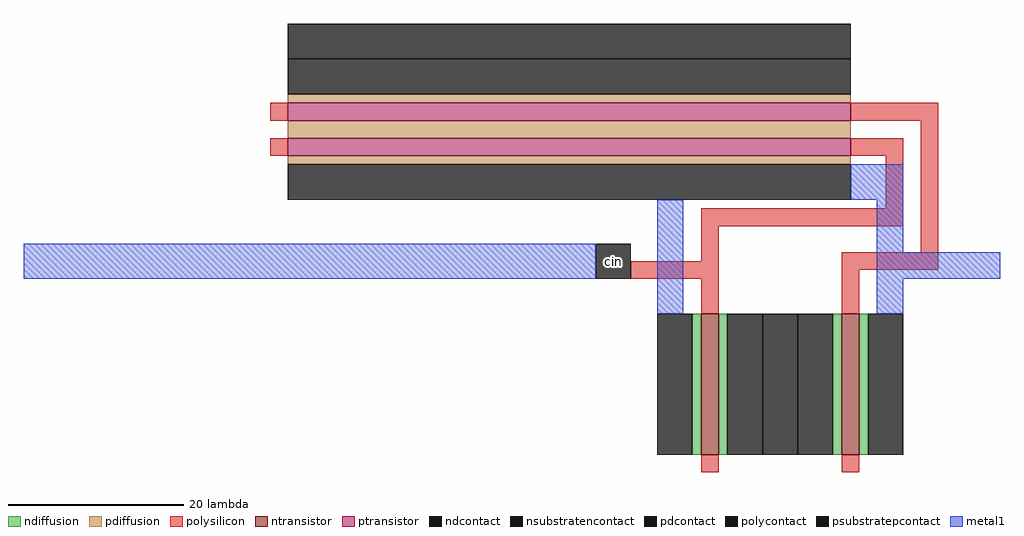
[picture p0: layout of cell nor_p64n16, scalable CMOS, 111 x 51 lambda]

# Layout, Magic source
magic
tech scmos
<< polysilicon >>
rect -48 23 -46 25
rect 18 23 28 25
rect -48 19 -46 21
rect 18 19 24 21
rect 22 13 24 19
rect 1 11 24 13
rect 1 7 3 11
rect 26 8 28 23
rect -7 5 3 7
rect 1 1 3 5
rect 17 6 28 8
rect 17 1 19 6
rect 1 -17 3 -15
rect 17 -17 19 -15
<< ndiffusion >>
rect 0 -15 1 1
rect 3 -15 4 1
rect 16 -15 17 1
rect 19 -15 20 1
<< pdiffusion >>
rect -46 25 18 26
rect -46 21 18 23
rect -46 18 18 19
<< metal1 >>
rect 18 14 24 18
rect -76 5 -11 9
rect -4 1 -1 14
rect 21 8 24 14
rect 21 5 35 8
rect 21 1 24 5
<< ntransistor >>
rect 1 -15 3 1
rect 17 -15 19 1
<< ptransistor >>
rect -46 23 18 25
rect -46 19 18 21
<< polycontact >>
rect -11 5 -7 9
<< ndcontact >>
rect -4 -15 0 1
rect 4 -15 8 1
rect 12 -15 16 1
rect 20 -15 24 1
<< pdcontact >>
rect -46 26 18 30
rect -46 14 18 18
<< psubstratepcontact >>
rect 8 -15 12 1
<< nsubstratencontact >>
rect -46 30 18 34
<< labels >>
rlabel polycontact -9 7 -9 7 3 cin
<< end >>
